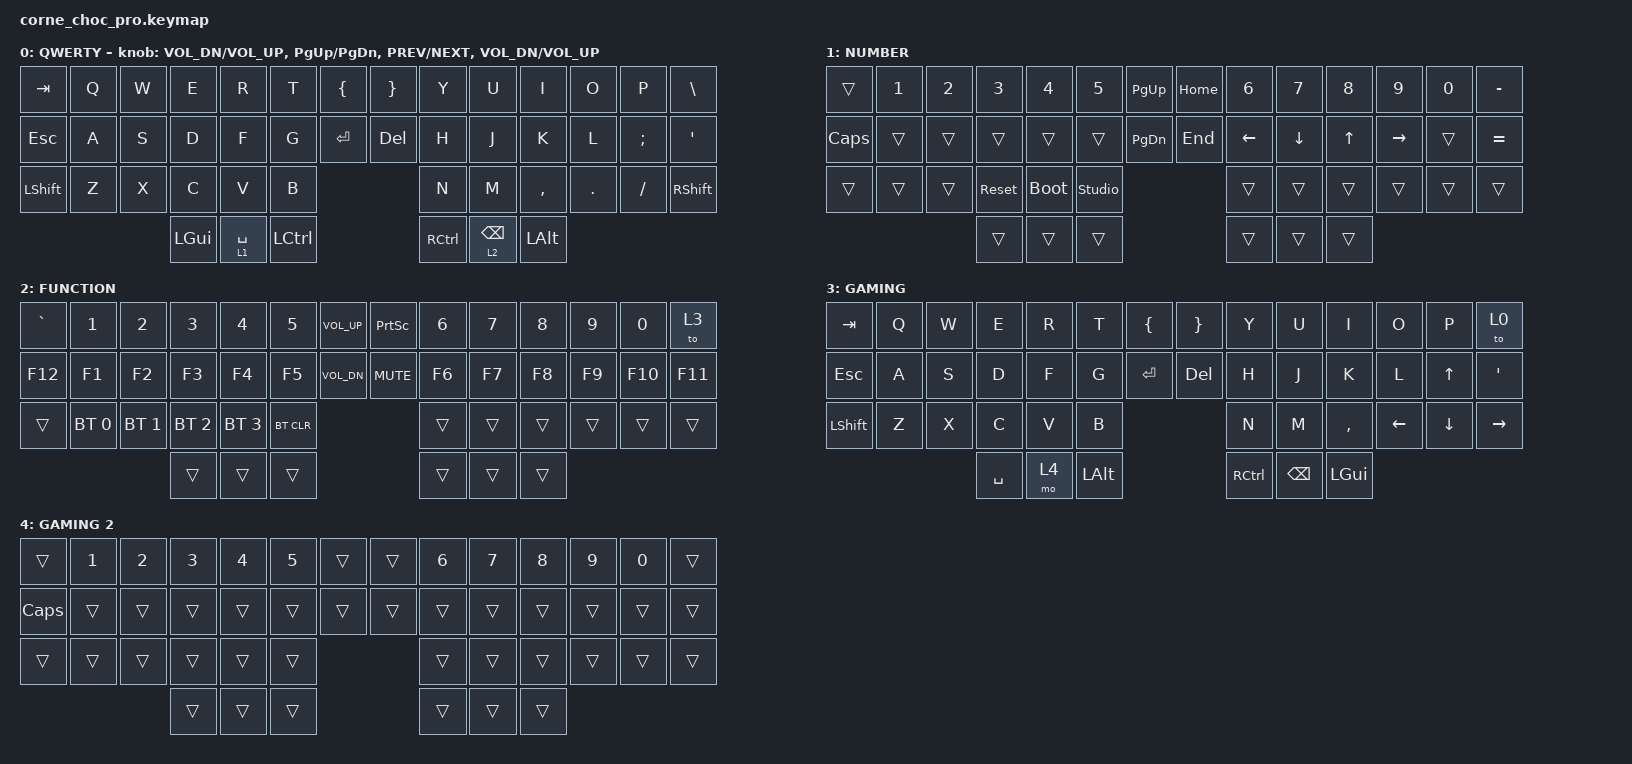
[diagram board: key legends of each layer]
/*
 * Copyright (c) 2020 The ZMK Contributors
 *
 * SPDX-License-Identifier: MIT
 */

#include <behaviors.dtsi>
#include <dt-bindings/zmk/keys.h>
#include <dt-bindings/zmk/bt.h>
#include <dt-bindings/zmk/rgb.h>

/ {
    chosen {
        zmk,physical-layout = &default_layout;
    };
};

&lt {
    quick-tap-ms = <200>;
    tapping-term-ms = <200>;
    flavor = "tap-preferred";
};

/ {
    keymap {
        compatible = "zmk,keymap";

        default_layer {
            display-name = "QWERTY";
            // -------------------------------------------------------------------------------------------
            // |  TAB |  Q  |  W  |  E  |  R  |  T  |  [   |   ]   |  Y  |  U   |  I  |  O  |  P  |  \\  |
            // |  ESC |  A  |  S  |  D  |  F  |  G  | RET  |  DEL  |  H  |  J   |  K  |  L  |  ;  |  '   |
            // | SHFT |  Z  |  X  |  C  |  V  |  B  |              |  N  |  M   |  ,  |  .  |  /  | SHFT |
            //                    | GUI | NUM | CTRL|              |CTRL | FUNC | ALT |
            bindings = <
                &kp TAB   &kp Q &kp W &kp E    &kp R       &kp T &kp LBRC &kp RBRC &kp Y     &kp U      &kp I     &kp O   &kp P    &kp BSLH
                &kp ESC   &kp A &kp S &kp D    &kp F       &kp G &kp RET  &kp DEL  &kp H     &kp J      &kp K     &kp L   &kp SEMI &kp SQT
                &kp LSHFT &kp Z &kp X &kp C    &kp V       &kp B                   &kp N     &kp M      &kp COMMA &kp DOT &kp FSLH &kp RSHFT
                                      &kp LGUI &lt 1 SPACE &kp LCTRL               &kp RCTRL &lt 2 BSPC &kp LALT
            >;
            sensor-bindings = <&inc_dec_kp C_VOL_DN C_VOL_UP &inc_dec_kp PG_UP PG_DN &inc_dec_kp C_PREV C_NEXT &inc_dec_kp C_VOL_DN C_VOL_UP>;
        };

        lower_layer {
            display-name = "NUMBER";
            // ----------------------------------------------------------------------------------------------
            // |      |  1  |  2  |  3  |  4  |  5    | PGUP   | HOME  |  6  |  7  |  8  |  9  |  0  |  -   |
            // | CAPS |     |     |     |     |       | PGDN   | END   | LFT | DWN | UP  | RGT |     |  =   |
            // |      |     |     | RST | BOOT| Unlock|                |     |     |     |     |     |      |
            //                    |     |     |       |                |     |     |     |
            bindings = <
                &trans   &kp N1 &kp N2 &kp N3     &kp N4      &kp N5         &kp PG_UP &kp HOME &kp N6   &kp N7   &kp N8 &kp N9    &kp N0 &kp MINUS
                &kp CAPS &trans &trans &trans     &trans      &trans         &kp PG_DN &kp END  &kp LEFT &kp DOWN &kp UP &kp RIGHT &trans &kp EQUAL
                &trans   &trans &trans &sys_reset &bootloader &studio_unlock                    &trans   &trans   &trans &trans    &trans &trans
                                       &trans     &trans      &trans                            &trans   &trans   &trans
            >;
        };

        raise_layer {
            display-name = "FUNCTION";
            // --------------------------------------------------------------------------------------------
            // |  `   |  1  |  2  |  3  |  4  |  5  | VOLUP  | PRSC  |  6  |  7  |  8  |  9  |  0  | GAME |
            // | F12  | F1  | F2  | F3  | F4  | F5  | VOLDN  | MUTE  | F6  | F7  | F8  | F9  | F10 | F11  |
            // |      | BT0 | BT1 | BT2 | BT3 | BTC |                |     |     |     |     |     |      |
            //                    |     |     |     |                |     |     |     |
            bindings = <
                &kp GRAVE  &kp N1       &kp N2       &kp N3       &kp N4       &kp N5     &kp C_VOL_UP &kp PSCRN  &kp N6 &kp N7 &kp N8 &kp N9 &kp N0  &to 3
                &kp F12    &kp F1       &kp F2       &kp F3       &kp F4       &kp F5     &kp C_VOL_DN &kp C_MUTE &kp F6 &kp F7 &kp F8 &kp F9 &kp F10 &kp F11
                &trans     &bt BT_SEL 0 &bt BT_SEL 1 &bt BT_SEL 2 &bt BT_SEL 3 &bt BT_CLR                         &trans &trans &trans &trans &trans  &trans
                                                     &trans       &trans       &trans                             &trans &trans &trans
            >;
        };

        extra_layer_1 {
            // -------------------------------------------------------------------------------------------
            // |  TAB |  Q  |  W  |  E  |  R  |  T  |  [   |   ]   |  Y  |  U   |  I  |  O  |  P  |QWERTY|
            // |  ESC |  A  |  S  |  D  |  F  |  G  | RET  |  DEL  |  H  |  J   |  K  |  L  |  UP |  '   |
            // | SHFT |  Z  |  X  |  C  |  V  |  B  |              |  N  |  M   |  ,  |LEFT |DOWN |RIGHT |
            //                    | GAM2| SPC | ALT |              |CTRL | BSPC | GUI |
            display-name = "GAMING";
            bindings = <
                &kp TAB   &kp Q &kp W &kp E     &kp R      &kp T    &kp LBRC &kp RBRC &kp Y     &kp U    &kp I     &kp O    &kp P    &to 0
                &kp ESC   &kp A &kp S &kp D     &kp F      &kp G    &kp RET  &kp DEL  &kp H     &kp J    &kp K     &kp L    &kp UP   &kp SQT
                &kp LSHFT &kp Z &kp X &kp C     &kp V      &kp B                      &kp N     &kp M    &kp COMMA &kp LEFT &kp DOWN &kp RIGHT
                                      &kp SPACE &mo 4      &kp LALT                   &kp RCTRL &kp BSPC &kp LGUI
            >;
        };

        extra_layer_2 {
            // ----------------------------------------------------------------------------------------------
            // |      |  1  |  2  |  3  |  4  |  5    | PGUP   | HOME  |  6  |  7  |  8  |  9  |  0  |  -   |
            // | CAPS |     |     |     |     |       | PGDN   | END   |     |     |     |     |     |  =   |
            // |      |     |     |     |     |       |                |     |     |     |     |     |      |
            //                    |     |     |       |                |     |     |     |
            display-name = "GAMING 2";
            bindings = <
                &trans   &kp N1 &kp N2 &kp N3 &kp N4 &kp N5 &trans &trans &kp N6 &kp N7 &kp N8 &kp N9 &kp N0 &trans
                &kp CAPS &trans &trans &trans &trans &trans &trans &trans &trans &trans &trans &trans &trans &trans
                &trans   &trans &trans &trans &trans &trans               &trans &trans &trans &trans &trans &trans
                                       &trans &trans &trans               &trans &trans &trans
            >;
        };
    };
};
